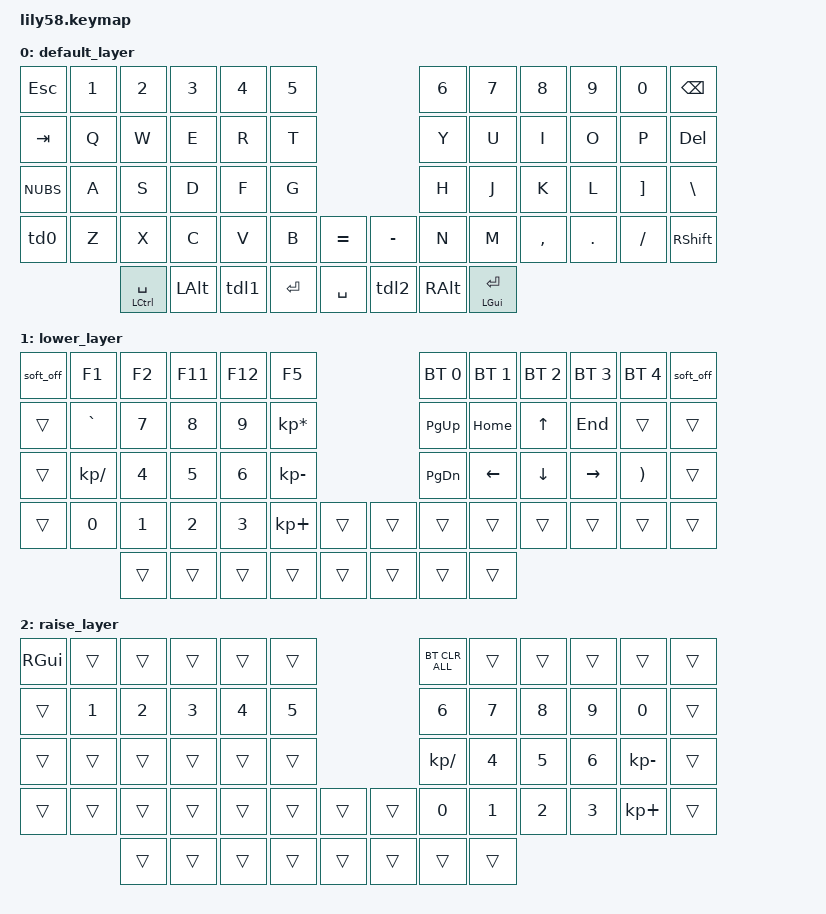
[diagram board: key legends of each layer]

#include <behaviors.dtsi>
#include <dt-bindings/zmk/keys.h>
#include <dt-bindings/zmk/bt.h>
#include <dt-bindings/zmk/ext_power.h>

&soft_off {
    hold-time-ms = <2000>; // Only turn off it the key is held for 2 seconds or longer.
    split-peripheral-off-on-press;
};


#define COMBO(NAME, BINDINGS, KEYPOS) \
  combo_##NAME { \
    timeout-ms = <50>; \
    bindings = <BINDINGS>; \
    key-positions = <KEYPOS>; \
    layers = <0>; \
  };

/ {

    combos {
    compatible = "zmk,combos";
        COMBO(ue, &kp LBKT, 19 15)
        COMBO(ae, &kp SQT, 25 15)
        COMBO(oe, &kp SEMI, 21 15)
        COMBO(esckey, &kp ESC, 2 3)
    }; //The first parameter is just an internal name, the second one the keypress we want to execute during the combo, and the last one is for the key positions.

    behaviors {

        td0: tap_dance_0 {
            compatible = "zmk,behavior-tap-dance";
            #binding-cells = <0>;
            tapping-term-ms = <200>;
            bindings = <&kp LSHFT>, <&kp CAPS>;
        };

        ht: hold_tap {
            compatible = "zmk,behavior-hold-tap";
            flavor = "balanced";
            tapping-term-ms = <300>;
            label = "HOLD_TAP";
            #binding-cells = <2>;
            bindings = <&kp>, <&kp>;
        };

        hm: homerow_mods {
            compatible = "zmk,behavior-hold-tap";
            flavor = "tap-preferred";
            tapping-term-ms = <180>;
            quick-tap-ms = <180>;
            label = "home_mod";
            #binding-cells = <2>;
            bindings = <&kp>, <&kp>;
        };

        htls: hold_tap_layer_switch {
            compatible = "zmk,behavior-hold-tap";
            flavor = "balanced"; // or "tap-preferred" / "hold-preferred" depending on your use case
            tapping-term-ms = <200>; // Customize this value as needed
            label = "Hold-Tap Layer Switch";
            #binding-cells = <2>;
            bindings = <&mo>, <&tog>;
        };
        
        tdl1: tap_dance_layer1_switch {
            compatible = "zmk,behavior-tap-dance";
            tapping-term-ms = <200>;
            label = "Tap-Dance Layer1 Switch";
            #binding-cells = <0>;
            bindings = <&mo 1>, <&tog 1>;
        };
        tdl2: tap_dance_layer2_switch {
            compatible = "zmk,behavior-tap-dance";
            tapping-term-ms = <200>;
            label = "Tap-Dance Layer2 Switch";
            #binding-cells = <0>;
            bindings = <&mo 2>, <&tog 2>;
        };

    };


    keymap {
        compatible = "zmk,keymap";

        default_layer {
            bindings = <
&kp ESC     &kp N1 &kp N2 &kp N3   &kp N4   &kp N5                     &kp N6 &kp N7   &kp N8    &kp N9  &kp N0   &kp BSPC
&kp TAB     &kp Q  &kp W  &kp E    &kp R    &kp T                      &kp Y  &kp U    &kp I     &kp O   &kp P    &kp DEL
&kp NUBS      &kp A  &kp S  &kp D    &kp F    &kp G                      &kp H  &kp J    &kp K     &kp L   &kp RBKT  &kp BSLH
&td0   &kp Z  &kp X  &kp C    &kp V    &kp B  &kp EQUAL   &kp MINUS &kp N  &kp M    &kp COMMA &kp DOT &kp FSLH &kp RSHFT
                        &ht LCTRL SPACE  &kp LALT  &tdl1  &kp RET  &kp SPACE  &tdl2   &kp RALT &ht LGUI RET
            >;
        };

        lower_layer {
            bindings = <
&soft_off &kp F1       &kp F2     &kp F11    &kp F12   &kp F5                                  &bt BT_SEL 0    &bt BT_SEL 1   &bt BT_SEL 2    &bt BT_SEL 3    &bt BT_SEL 4    &soft_off   
&trans &kp GRAVE    &kp N7      &kp N8    &kp N9    &kp KP_ASTERISK                         &kp PG_UP       &kp HOME    &kp UP     &kp END     &trans   &trans
&trans &kp KP_SLASH &kp N4      &kp N5    &kp N6   &kp KP_MINUS                             &kp PG_DN        &kp LEFT    &kp DOWN   &kp RIGHT   &kp RPAR  &trans
&trans &kp N0       &kp N1      &kp N2    &kp N3   &kp KP_PLUS   &trans    &trans    &trans    &trans  &trans      &trans    &trans        &trans    
                    &trans     &trans     &trans     &trans                       &trans    &trans    &trans    &trans
            >;
        };

        raise_layer {
            bindings = <
&kp RGUI    &trans      &trans &trans  &trans  &trans                       &bt BT_CLR_ALL  &trans    &trans      &trans    &trans             &trans
&trans      &kp N1      &kp N2 &kp N3   &kp N4   &kp N5                     &kp N6          &kp N7     &kp N8     &kp N9    &kp N0             &trans
&trans      &trans      &trans &trans  &trans  &trans                       &kp KP_SLASH    &kp N4     &kp N5     &kp N6    &kp KP_MINUS       &trans
&trans      &trans      &trans &trans  &trans  &trans     &trans   &trans   &kp N0          &kp N1     &kp N2     &kp N3    &kp KP_PLUS        &trans
                        &trans &trans  &trans    &trans   &trans    &trans      &trans    &trans
            >;
        };
    };
};
